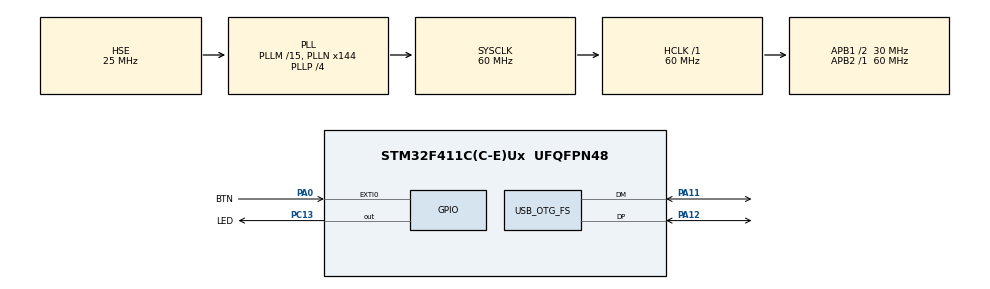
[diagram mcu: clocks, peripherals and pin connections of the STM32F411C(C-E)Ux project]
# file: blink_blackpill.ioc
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Mcu.Family=STM32F4
Mcu.Name=STM32F411C(C-E)Ux
Mcu.Package=UFQFPN48
NVIC.OTG_FS_IRQn=true\:0\:0\:false\:false\:true\:false\:true\:true
NVIC.PriorityGroup=NVIC_PRIORITYGROUP_4
PA0-WKUP.GPIO_Label=BTN
PA0-WKUP.GPIO_ModeDefaultEXTI=GPIO_MODE_IT_RISING_FALLING
PA0-WKUP.GPIO_PuPd=GPIO_PULLUP
PA0-WKUP.Signal=GPXTI0
PA11.Mode=Device_Only
PA11.Signal=USB_OTG_FS_DM
PA12.Mode=Device_Only
PA12.Signal=USB_OTG_FS_DP
PA13.Mode=Serial_Wire
PA13.Signal=SYS_JTMS-SWDIO
PA14.Mode=Serial_Wire
PA14.Signal=SYS_JTCK-SWCLK
PC13-ANTI_TAMP.GPIO_Label=LED
PC13-ANTI_TAMP.GPIO_ModeDefaultOutputPP=GPIO_MODE_OUTPUT_OD
PC13-ANTI_TAMP.GPIO_PuPd=GPIO_NOPULL
PC13-ANTI_TAMP.PinState=GPIO_PIN_SET
PC13-ANTI_TAMP.Signal=GPIO_Output
PH0\ -\ OSC_IN.Mode=HSE-External-Oscillator
PH0\ -\ OSC_IN.Signal=RCC_OSC_IN
PH1\ -\ OSC_OUT.Mode=HSE-External-Oscillator
PH1\ -\ OSC_OUT.Signal=RCC_OSC_OUT
ProjectManager.HeapSize=0x200
ProjectManager.StackSize=0x400
ProjectManager.TargetToolchain=STM32CubeIDE
RCC.48MHZClocksFreq_Value=48000000
RCC.AHBFreq_Value=60000000
RCC.APB1CLKDivider=RCC_HCLK_DIV2
RCC.APB1Freq_Value=30000000
RCC.APB1TimFreq_Value=60000000
RCC.APB2Freq_Value=60000000
RCC.APB2TimFreq_Value=60000000
RCC.CortexFreq_Value=60000000
RCC.HCLKFreq_Value=60000000
RCC.HSE_VALUE=25000000
RCC.HSI_VALUE=16000000
RCC.LSE_VALUE=32768
RCC.PLLM=15
RCC.PLLN=144
RCC.PLLP=RCC_PLLP_DIV4
RCC.PLLQ=5
RCC.SYSCLKFreq_VALUE=60000000
RCC.SYSCLKSource=RCC_SYSCLKSOURCE_PLLCLK
RCC.VCOOutputFreq_Value=240000000
USB_DEVICE.CLASS_NAME_FS=CDC
USB_DEVICE.VirtualMode=Cdc
USB_DEVICE.VirtualModeFS=Cdc_FS
USB_OTG_FS.VirtualMode=Device_Only
VP_USB_DEVICE_VS_USB_DEVICE_CDC_FS.Mode=CDC_FS
board=custom

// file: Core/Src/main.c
/* USER CODE BEGIN Header */
/**
  ******************************************************************************
  * @file           : main.c
  * @brief          : Main program body
  ******************************************************************************
  * @attention
  *
  * Copyright (c) 2026 STMicroelectronics.
  * All rights reserved.
  *
  * This software is licensed under terms that can be found in the LICENSE file
  * in the root directory of this software component.
  * If no LICENSE file comes with this software, it is provided AS-IS.
  *
  ******************************************************************************
  */
/* USER CODE END Header */
#include "main.h"
#include "usb_device.h"

/* USER CODE BEGIN Includes */
#include <stdio.h>
#include <string.h>
/* USER CODE END Includes */

void SystemClock_Config(void);
static void MX_GPIO_Init(void);
/* USER CODE BEGIN PFP */

extern uint8_t CDC_Transmit_FS(uint8_t* Buf, uint16_t Len);

/* USER CODE END PFP */

/* USER CODE BEGIN 0 */

//send printf through usb cdc

int _write(int file, char *ptr, int len)
{
    static uint8_t buffer[512];
    int j = 0;

    for (int i = 0; i < len; i++)
    {
        if (ptr[i] == '\n')
        {
            buffer[j++] = '\r';
        }
        buffer[j++] = ptr[i];
    }

    uint8_t result;
    do {
        result = CDC_Transmit_FS(buffer, j);
    } while (result == USBD_BUSY);

    return len;
}

/* USER CODE END 0 */

int main(void)
{

  /* MCU Configuration--------------------------------------------------------*/

  /* Reset of all peripherals, Initializes the Flash interface and the Systick. */
  HAL_Init();

  /* Configure the system clock */
  SystemClock_Config();

  /* Initialize all configured peripherals */
  MX_GPIO_Init();
  MX_USB_DEVICE_Init();
  /* USER CODE BEGIN 2 */
  printf("First Application Starting\n");
  /* USER CODE END 2 */

  /* Infinite loop */
  /* USER CODE BEGIN WHILE */
  uint32_t now = 0, last_print = 0;

  while (1)
  {
	  now = HAL_GetTick();

	  if (now - last_print >= 2000){
		  printf("Loop %lu\n", now);
		  last_print = now;
	  }

	  /*printf("Loop\n");
	  HAL_Delay(1000);*/
    /* USER CODE END WHILE */

  }
}

void SystemClock_Config(void)
{
  RCC_OscInitTypeDef RCC_OscInitStruct = {0};
  RCC_ClkInitTypeDef RCC_ClkInitStruct = {0};

  /** Configure the main internal regulator output voltage
  */
  __HAL_RCC_PWR_CLK_ENABLE();
  __HAL_PWR_VOLTAGESCALING_CONFIG(PWR_REGULATOR_VOLTAGE_SCALE1);

  /** Initializes the RCC Oscillators according to the specified parameters
  * in the RCC_OscInitTypeDef structure.
  */
  RCC_OscInitStruct.OscillatorType = RCC_OSCILLATORTYPE_HSE;
  RCC_OscInitStruct.HSEState = RCC_HSE_ON;
  RCC_OscInitStruct.PLL.PLLState = RCC_PLL_ON;
  RCC_OscInitStruct.PLL.PLLSource = RCC_PLLSOURCE_HSE;
  RCC_OscInitStruct.PLL.PLLM = 15;
  RCC_OscInitStruct.PLL.PLLN = 144;
  RCC_OscInitStruct.PLL.PLLP = RCC_PLLP_DIV4;
  RCC_OscInitStruct.PLL.PLLQ = 5;
  if (HAL_RCC_OscConfig(&RCC_OscInitStruct) != HAL_OK)
  {
    Error_Handler();
  }

  /** Initializes the CPU, AHB and APB buses clocks
  */
  RCC_ClkInitStruct.ClockType = RCC_CLOCKTYPE_HCLK|RCC_CLOCKTYPE_SYSCLK
                              |RCC_CLOCKTYPE_PCLK1|RCC_CLOCKTYPE_PCLK2;
  RCC_ClkInitStruct.SYSCLKSource = RCC_SYSCLKSOURCE_PLLCLK;
  RCC_ClkInitStruct.AHBCLKDivider = RCC_SYSCLK_DIV1;
  RCC_ClkInitStruct.APB1CLKDivider = RCC_HCLK_DIV2;
  RCC_ClkInitStruct.APB2CLKDivider = RCC_HCLK_DIV1;

  if (HAL_RCC_ClockConfig(&RCC_ClkInitStruct, FLASH_LATENCY_1) != HAL_OK)
  {
    Error_Handler();
  }
}

static void MX_GPIO_Init(void)
{
  GPIO_InitTypeDef GPIO_InitStruct = {0};

  /* GPIO Ports Clock Enable */
  __HAL_RCC_GPIOC_CLK_ENABLE();
  __HAL_RCC_GPIOH_CLK_ENABLE();
  __HAL_RCC_GPIOA_CLK_ENABLE();

  /*Configure GPIO pin Output Level */
  HAL_GPIO_WritePin(LED_GPIO_Port, LED_Pin, GPIO_PIN_SET);

  /*Configure GPIO pin : LED_Pin */
  GPIO_InitStruct.Pin = LED_Pin;
  GPIO_InitStruct.Mode = GPIO_MODE_OUTPUT_OD;
  GPIO_InitStruct.Pull = GPIO_NOPULL;
  GPIO_InitStruct.Speed = GPIO_SPEED_FREQ_LOW;
  HAL_GPIO_Init(LED_GPIO_Port, &GPIO_InitStruct);

  /*Configure GPIO pin : BTN_Pin */
  GPIO_InitStruct.Pin = BTN_Pin;
  GPIO_InitStruct.Mode = GPIO_MODE_IT_RISING_FALLING;
  GPIO_InitStruct.Pull = GPIO_PULLUP;
  HAL_GPIO_Init(BTN_GPIO_Port, &GPIO_InitStruct);

}

void Error_Handler(void)
{
  __disable_irq();
  while (1)
  {
  }
}
